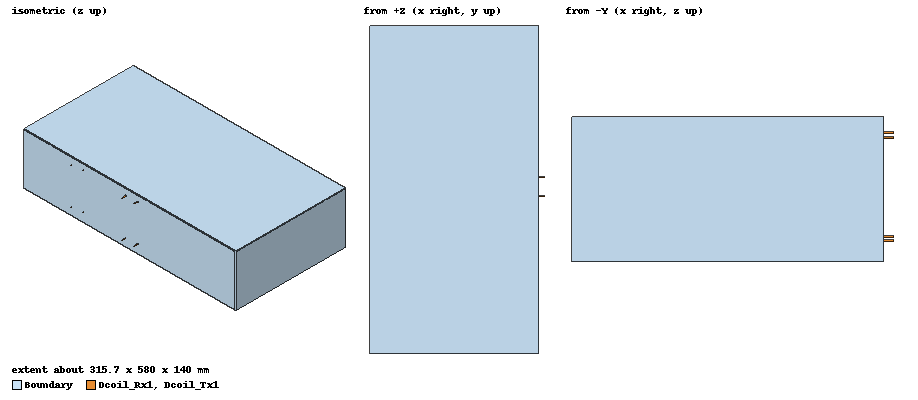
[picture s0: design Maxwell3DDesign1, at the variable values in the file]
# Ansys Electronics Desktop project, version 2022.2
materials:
  vacuum: permittivity=1
  copper litz: permeability=0.999991 conductivity=58000000 stacking_type="Litz Wire" wire_type=Round strand_number=1 wire_diameter=2mm
  air: permittivity=1.0006 permeability=1.0000004

design Maxwell3DDesign1 (Maxwell 3D, EddyCurrent, model units mm)
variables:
  airgap = 100mm
  misal = 0mm
  i = 5A
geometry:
  Dcoil_Tx [copper litz] = polyline(z=0mm, xy in mm: (140, 60) (140, 0) (0, 0) (0, 140) (136, 140) (136, 4) (4, 4) (4, 136) (132, 136) (132, 8) (8, 8) (8, 132) (128, 132) (128, 12) (12, 12) (12, 128) (124, 128) (124, 16) (16, 16) (16, 124) (120, 124) (120, 20) (20, 20) (20, 120) (116, 120) (116, 24) (24, 24) (24, 116) (112, 116) (112, 28) (28, 28) (28, 112) (108, 112) (108, 32) (32, 32) (32, 108) (104, 108) (104, 36) (36, 36) (36, 104), section circle width=2mm)
  Polyline2 = polyline(y=104mm, xz in mm: (36, 0) (36, 4) (1000, 4), section circle width=2mm)
  Polyline3 = polyline(z=0mm, xy in mm: (140, 60) (140, 70) (1000, 70), section circle width=2mm)
  Dcoil_Tx.unite(Polyline2, Polyline3)
  Box2 = box(corner=(300mm, -50mm, 50mm), size=(800mm, 200mm, -200mm))
  Dcoil_Tx.subtract(Box2)
  Dcoil_Tx1 [copper litz] = polyline(z=0mm, xy in mm: (140, 60) (140, 0) (0, 0) (0, 140) (136, 140) (136, 4) (4, 4) (4, 136) (132, 136) (132, 8) (8, 8) (8, 132) (128, 132) (128, 12) (12, 12) (12, 128) (124, 128) (124, 16) (16, 16) (16, 124) (120, 124) (120, 20) (20, 20) (20, 120) (116, 120) (116, 24) (24, 24) (24, 116) (112, 116) (112, 28) (28, 28) (28, 112) (108, 112) (108, 32) (32, 32) (32, 108) (104, 108) (104, 36) (36, 36) (36, 104), section circle width=2mm)
  Polyline4 = polyline(y=104mm, xz in mm: (36, 0) (36, 4) (1000, 4), section circle width=2mm)
  Polyline5 = polyline(z=0mm, xy in mm: (140, 60) (140, 70) (1000, 70), section circle width=2mm)
  Dcoil_Tx1.unite(Polyline4, Polyline5)
  Box3 = box(corner=(300mm, -50mm, 50mm), size=(800mm, 200mm, -200mm))
  Dcoil_Tx1.subtract(Box3)
  Dcoil_Tx1.move(0mm, 148mm, 0mm)
  Boundary [air] = box(corner=(-10mm, -60mm, 120mm), size=(300mm, 580mm, -140mm))
  Box5 = box(corner=(290mm, -60mm, 40mm), size=(230mm, 380mm, -140mm))
  Dcoil_Tx.subtract(Box5)
  Dcoil_Rx [copper litz] = polyline(z=0mm, xy in mm: (140, 60) (140, 0) (0, 0) (0, 140) (136, 140) (136, 4) (4, 4) (4, 136) (132, 136) (132, 8) (8, 8) (8, 132) (128, 132) (128, 12) (12, 12) (12, 128) (124, 128) (124, 16) (16, 16) (16, 124) (120, 124) (120, 20) (20, 20) (20, 120) (116, 120) (116, 24) (24, 24) (24, 116) (112, 116) (112, 28) (28, 28) (28, 112) (108, 112) (108, 32) (32, 32) (32, 108) (104, 108) (104, 36) (36, 36) (36, 104), section circle width=2mm)
  Polyline6 = polyline(y=104mm, xz in mm: (36, 0) (36, 4) (1000, 4), section circle width=2mm)
  Polyline7 = polyline(z=0mm, xy in mm: (140, 60) (140, 70) (1000, 70), section circle width=2mm)
  Dcoil_Rx.unite(Polyline6, Polyline7)
  Box6 = box(corner=(300mm, -50mm, 50mm), size=(800mm, 200mm, -200mm))
  Dcoil_Rx.subtract(Box6)
  Box8 = box(corner=(290mm, -60mm, 40mm), size=(230mm, 380mm, -140mm))
  Dcoil_Rx.subtract(Box8)
  Dcoil_Rx.move(0mm, 0mm, airgap)
  Dcoil_Rx.move(0mm, misal, 0mm)
  Dcoil_Rx1 [copper litz] = polyline(z=0mm, xy in mm: (140, 60) (140, 0) (0, 0) (0, 140) (136, 140) (136, 4) (4, 4) (4, 136) (132, 136) (132, 8) (8, 8) (8, 132) (128, 132) (128, 12) (12, 12) (12, 128) (124, 128) (124, 16) (16, 16) (16, 124) (120, 124) (120, 20) (20, 20) (20, 120) (116, 120) (116, 24) (24, 24) (24, 116) (112, 116) (112, 28) (28, 28) (28, 112) (108, 112) (108, 32) (32, 32) (32, 108) (104, 108) (104, 36) (36, 36) (36, 104), section circle width=2mm)
  Polyline8 = polyline(y=104mm, xz in mm: (36, 0) (36, 4) (1000, 4), section circle width=2mm)
  Polyline9 = polyline(z=0mm, xy in mm: (140, 60) (140, 70) (1000, 70), section circle width=2mm)
  Dcoil_Rx1.unite(Polyline8, Polyline9)
  Box9 = box(corner=(300mm, -50mm, 50mm), size=(800mm, 200mm, -200mm))
  Dcoil_Rx1.subtract(Box9)
  Dcoil_Rx1.move(0mm, 148mm, 100mm)
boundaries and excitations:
  Tx_in1: Current Faces=Dcoil_Tx.face(at (290, 70, 0)) Phase=0deg Current=i IsSolid=false Point_out_of_terminal=false
  Tx_out1: Current Faces=Dcoil_Tx.face(at (290, 104, 4)) Phase=0deg Current=i IsSolid=false Point_out_of_terminal=true
  Tx_in2: Current Faces=Dcoil_Tx1.face(#1441) Phase=0deg Current=i IsSolid=false Point_out_of_terminal=false
  Tx_out2: Current Faces=Dcoil_Tx1.face(#1440) Phase=0deg Current=i IsSolid=false Point_out_of_terminal=true
  Rx_in1: Current Faces=Dcoil_Rx.face(#2166) Phase=0deg Current=0mA IsSolid=true Point_out_of_terminal=false
  Rx_out1: Current Faces=Dcoil_Rx.face(#2165) Phase=0deg Current=0mA IsSolid=true Point_out_of_terminal=true
  Rx_in2: Current Faces=Dcoil_Rx1.face(#2383) Phase=0deg Current=0mA IsSolid=true Point_out_of_terminal=false
  Rx_out2: Current Faces=Dcoil_Rx1.face(#2382) Phase=0deg Current=0mA IsSolid=true Point_out_of_terminal=true
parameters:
  Matrix1: Matrix Rx_in1, Rx_in2, Tx_in1, Tx_in2:
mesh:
  Length1: LengthBased RefineInside Objects=Boundary MaxLength=116mm
  Length2: LengthBased Objects=[Dcoil_Rx, Dcoil_Rx1, Dcoil_Tx, Dcoil_Tx1] MaxLength=60.2mm
  initial mesh: GlobalCurvilinear{Apply}
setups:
  Setup1: EddyCurrent MaximumPasses=10 MinimumPasses=2 MinimumConvergedPasses=1 PercentRefinement=30 PercentError=20 RelativeResidual=1e-05 NonLinearResidual=0.0001 Frequency=85kHz
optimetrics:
  ParametricSetup1: Parametric Sim._Setups=[Setup1]
    sweep misal: LIN 0mm 200mm 50mm
